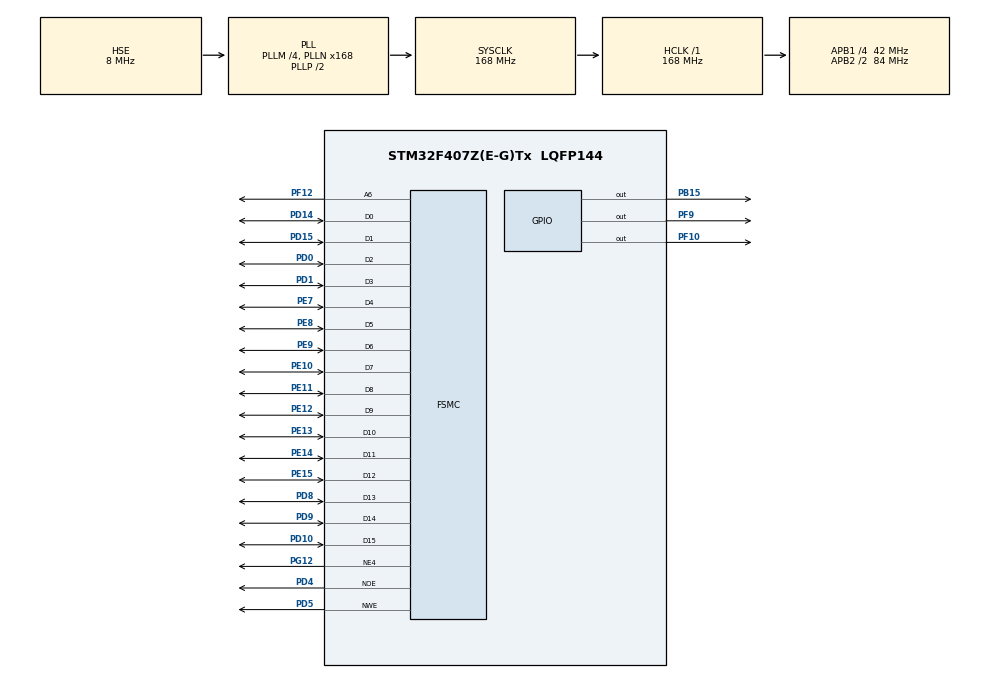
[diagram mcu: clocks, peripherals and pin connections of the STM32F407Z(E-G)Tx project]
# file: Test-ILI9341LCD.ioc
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FSMC.BusTurnAroundDuration4=0
FSMC.DataSetupTime4=60
FSMC.ExtendedAddressSetupTime4=9
FSMC.ExtendedBusTurnAroundDuration4=0
FSMC.ExtendedDataSetupTime4=8
FSMC.ExtendedMode4=FSMC_EXTENDED_MODE_ENABLE
Mcu.Family=STM32F4
Mcu.Name=STM32F407Z(E-G)Tx
Mcu.Package=LQFP144
NVIC.PriorityGroup=NVIC_PRIORITYGROUP_4
PA13.Mode=Serial_Wire
PA13.Signal=SYS_JTMS-SWDIO
PA14.Mode=Serial_Wire
PA14.Signal=SYS_JTCK-SWCLK
PB15.GPIO_Speed=GPIO_SPEED_FREQ_VERY_HIGH
PB15.PinState=GPIO_PIN_SET
PB15.Signal=GPIO_Output
PD0.Signal=FSMC_D2_DA2
PD1.Signal=FSMC_D3_DA3
PD10.Signal=FSMC_D15_DA15
PD14.Signal=FSMC_D0_DA0
PD15.Signal=FSMC_D1_DA1
PD4.Signal=FSMC_NOE
PD5.Signal=FSMC_NWE
PD8.Signal=FSMC_D13_DA13
PD9.Signal=FSMC_D14_DA14
PE10.Signal=FSMC_D7_DA7
PE11.Signal=FSMC_D8_DA8
PE12.Signal=FSMC_D9_DA9
PE13.Signal=FSMC_D10_DA10
PE14.Signal=FSMC_D11_DA11
PE15.Signal=FSMC_D12_DA12
PE7.Signal=FSMC_D4_DA4
PE8.Signal=FSMC_D5_DA5
PE9.Signal=FSMC_D6_DA6
PF10.GPIO_Speed=GPIO_SPEED_FREQ_VERY_HIGH
PF10.PinState=GPIO_PIN_SET
PF10.Signal=GPIO_Output
PF12.Signal=FSMC_A6
PF9.GPIO_Speed=GPIO_SPEED_FREQ_VERY_HIGH
PF9.PinState=GPIO_PIN_SET
PF9.Signal=GPIO_Output
PG12.Mode=NorPsramChipSelect4_4
PG12.Signal=FSMC_NE4
PH0-OSC_IN.Mode=HSE-External-Oscillator
PH0-OSC_IN.Signal=RCC_OSC_IN
PH1-OSC_OUT.Mode=HSE-External-Oscillator
PH1-OSC_OUT.Signal=RCC_OSC_OUT
ProjectManager.HeapSize=0x200
ProjectManager.StackSize=0x400
ProjectManager.TargetToolchain=MDK-ARM V5.32
RCC.48MHZClocksFreq_Value=84000000
RCC.AHBFreq_Value=168000000
RCC.APB1CLKDivider=RCC_HCLK_DIV4
RCC.APB1Freq_Value=42000000
RCC.APB1TimFreq_Value=84000000
RCC.APB2CLKDivider=RCC_HCLK_DIV2
RCC.APB2Freq_Value=84000000
RCC.APB2TimFreq_Value=168000000
RCC.CortexFreq_Value=168000000
RCC.HCLKFreq_Value=168000000
RCC.HSE_VALUE=8000000
RCC.HSI_VALUE=16000000
RCC.LSE_VALUE=32768
RCC.PLLM=4
RCC.PLLN=168
RCC.PLLSourceVirtual=RCC_PLLSOURCE_HSE
RCC.SYSCLKFreq_VALUE=168000000
RCC.SYSCLKSource=RCC_SYSCLKSOURCE_PLLCLK
RCC.VCOOutputFreq_Value=336000000
SH.FSMC_A6.0=FSMC_A6,A6_4
SH.FSMC_D0_DA0.0=FSMC_D0,16b-d4
SH.FSMC_D10_DA10.0=FSMC_D10,16b-d4
SH.FSMC_D11_DA11.0=FSMC_D11,16b-d4
SH.FSMC_D12_DA12.0=FSMC_D12,16b-d4
SH.FSMC_D13_DA13.0=FSMC_D13,16b-d4
SH.FSMC_D14_DA14.0=FSMC_D14,16b-d4
SH.FSMC_D15_DA15.0=FSMC_D15,16b-d4
SH.FSMC_D1_DA1.0=FSMC_D1,16b-d4
SH.FSMC_D2_DA2.0=FSMC_D2,16b-d4
SH.FSMC_D3_DA3.0=FSMC_D3,16b-d4
SH.FSMC_D4_DA4.0=FSMC_D4,16b-d4
SH.FSMC_D5_DA5.0=FSMC_D5,16b-d4
SH.FSMC_D6_DA6.0=FSMC_D6,16b-d4
SH.FSMC_D7_DA7.0=FSMC_D7,16b-d4
SH.FSMC_D8_DA8.0=FSMC_D8,16b-d4
SH.FSMC_D9_DA9.0=FSMC_D9,16b-d4
SH.FSMC_NOE.0=FSMC_NOE,Lcd4
SH.FSMC_NWE.0=FSMC_NWE,Lcd4
board=custom

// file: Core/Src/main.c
/* USER CODE BEGIN Header */
/**
  ******************************************************************************
  * @file           : main.c
  * @brief          : Main program body
  ******************************************************************************
  * @attention
  *
  * Copyright (c) 2026 STMicroelectronics.
  * All rights reserved.
  *
  * This software is licensed under terms that can be found in the LICENSE file
  * in the root directory of this software component.
  * If no LICENSE file comes with this software, it is provided AS-IS.
  *
  ******************************************************************************
  */
/* USER CODE END Header */
#include "main.h"
#include "gpio.h"
#include "fsmc.h"

/* USER CODE BEGIN Includes */
#include "LCD.h"
/* USER CODE END Includes */

void SystemClock_Config(void);

int main(void)
{

  /* MCU Configuration--------------------------------------------------------*/

  /* Reset of all peripherals, Initializes the Flash interface and the Systick. */
  HAL_Init();

  /* Configure the system clock */
  SystemClock_Config();

  /* Initialize all configured peripherals */
  MX_GPIO_Init();
  MX_FSMC_Init();
  /* USER CODE BEGIN 2 */
  LCD_Init();//初始化LCD FSMC接口

  //行间隔像素：
  //12->12（14像素）、12->16（14像素）、12->24（12像素）
  //16->12（18像素）、16->16（18像素）、16->24（16像素）
  //24->12（26像素）、24->16（24像素）、24->24（26像素）

  /**字符串显示测试**/
  POINT_COLOR=RED;//画笔颜色
  LCD_ShowString(5,9,12,"/******Display String Test*******/");
  POINT_COLOR=BLACK;
  LCD_ShowString(5,21,24,"STM32F407ZGT6");
  LCD_ShowString(5,45,16,"TFTLCD TEST");

  /**数字显示测试**/
  POINT_COLOR=RED;
  LCD_ShowString(5,63,12,"/******Display Number Test*******/");
  POINT_COLOR=PURPLE;
  LCD_ShowxNum(5,77,16,12345678,12);
  LCD_ShowNum(5,95,16,12345678,12);
  LCD_ShowHexNum(5,113,16,0x6735,5);
  LCD_ShowBinNum(5,131,16,0x567/*0101 0110 0111*/,15);
  LCD_ShowSignedNum(5,149,16,-1269,6);
  LCD_ShowSignedNum(5,167,16,+12,6);
  LCD_ShowSignedNum(5,185,16,0,6);

  /**颜色填充测试**/
  POINT_COLOR=RED;
  LCD_ShowString(5,203,12,"/******Display Color Test*******/");
  uint16_t color[9]={WHITE,BLACK,RED,ORANGE,YELLOW,GREEN,BLUE,INDIGO,PURPLE};
  for(uint8_t i=0;i<9;i++)
  {
    if(i==0)
      POINT_COLOR=BLACK,
      LCD_DrawRectangle(5+i*25,220,25+i*25,240);//因为背景色是白色，填充白色是看不见的，所以如果填充色是白色，就画一个黑色的矩形框就行
    else
      POINT_COLOR=color[i],
      LCD_FillRectangle(5+i*25,220,25+i*25,240);//如果填充色是其他颜色，就直接填充一个矩形显示出来
  }

  // /**汉字显示测试**/
  POINT_COLOR=RED;
  LCD_ShowString(5,243,12,"/******Display Chinese Test******/");
  POINT_COLOR=BLACK;
  LCD_CNSTRING40(5,257,"杨登杰");
  LCD_CNSTRING16(125,259,"细雪飘落长街");
  LCD_CNSTRING16(125,277,"枫叶红透又一年");
  /* USER CODE END 2 */

  /* Infinite loop */
  /* USER CODE BEGIN WHILE */
  OutputPF(9) = GPIO_PIN_RESET;
  OutputPF(10) = GPIO_PIN_RESET;
  OutputPB(15) = GPIO_PIN_RESET;

  while (1)
  {
    #include "GpioBitBanding.h"
    OutputPF(9) = !OutputPF(9);
    OutputPF(10) = !OutputPF(10);
    OutputPB(15) = !OutputPB(15);
    HAL_Delay(200);
    /* USER CODE END WHILE */

  }
}

void SystemClock_Config(void)
{
  RCC_OscInitTypeDef RCC_OscInitStruct = {0};
  RCC_ClkInitTypeDef RCC_ClkInitStruct = {0};

  /** Configure the main internal regulator output voltage
  */
  __HAL_RCC_PWR_CLK_ENABLE();
  __HAL_PWR_VOLTAGESCALING_CONFIG(PWR_REGULATOR_VOLTAGE_SCALE1);

  /** Initializes the RCC Oscillators according to the specified parameters
  * in the RCC_OscInitTypeDef structure.
  */
  RCC_OscInitStruct.OscillatorType = RCC_OSCILLATORTYPE_HSE;
  RCC_OscInitStruct.HSEState = RCC_HSE_ON;
  RCC_OscInitStruct.PLL.PLLState = RCC_PLL_ON;
  RCC_OscInitStruct.PLL.PLLSource = RCC_PLLSOURCE_HSE;
  RCC_OscInitStruct.PLL.PLLM = 4;
  RCC_OscInitStruct.PLL.PLLN = 168;
  RCC_OscInitStruct.PLL.PLLP = RCC_PLLP_DIV2;
  RCC_OscInitStruct.PLL.PLLQ = 4;
  if (HAL_RCC_OscConfig(&RCC_OscInitStruct) != HAL_OK)
  {
    Error_Handler();
  }

  /** Initializes the CPU, AHB and APB buses clocks
  */
  RCC_ClkInitStruct.ClockType = RCC_CLOCKTYPE_HCLK|RCC_CLOCKTYPE_SYSCLK
                              |RCC_CLOCKTYPE_PCLK1|RCC_CLOCKTYPE_PCLK2;
  RCC_ClkInitStruct.SYSCLKSource = RCC_SYSCLKSOURCE_PLLCLK;
  RCC_ClkInitStruct.AHBCLKDivider = RCC_SYSCLK_DIV1;
  RCC_ClkInitStruct.APB1CLKDivider = RCC_HCLK_DIV4;
  RCC_ClkInitStruct.APB2CLKDivider = RCC_HCLK_DIV2;

  if (HAL_RCC_ClockConfig(&RCC_ClkInitStruct, FLASH_LATENCY_5) != HAL_OK)
  {
    Error_Handler();
  }
}

void Error_Handler(void)
{
  __disable_irq();
  while (1)
  {
  }
}
